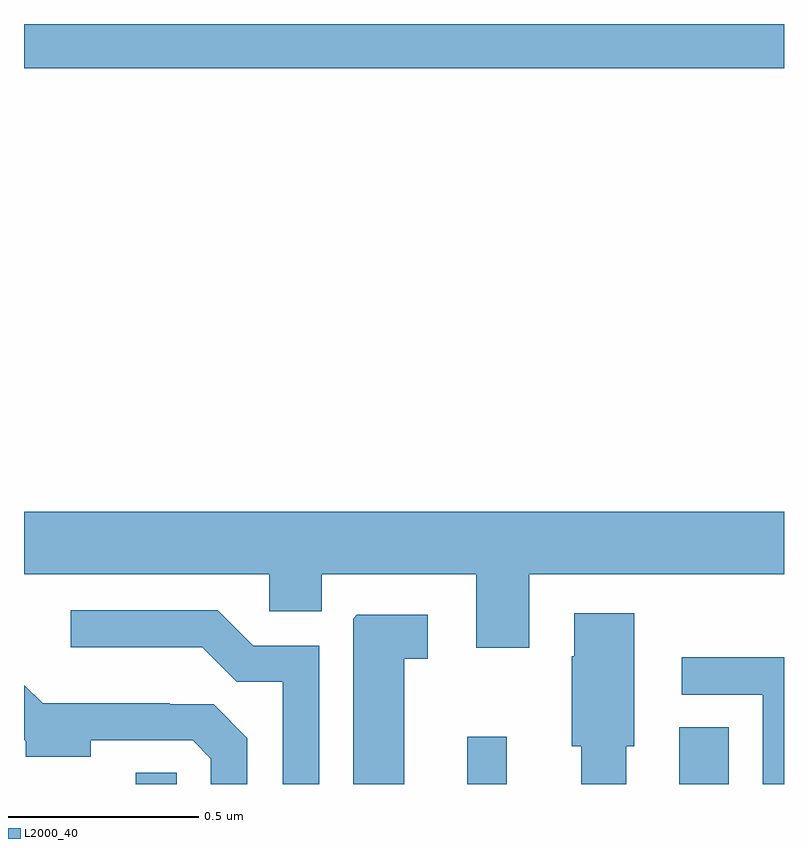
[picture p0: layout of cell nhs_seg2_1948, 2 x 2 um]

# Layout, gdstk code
import gdstk
lib = gdstk.Library(unit=1e-6, precision=1e-09)
def R(c, l, rs):  # rectangles x0, y0, x1, y1
    for r in rs: c.add(gdstk.rectangle(r[:2], r[2:], *l))
def P(c, l, *ps):  # polygons
    for p in ps: c.add(gdstk.Polygon(p, *l))
L2000_40 = (2000, 40)

nhs_seg2_1948 = lib.new_cell('nhs_seg2_1948')
R(nhs_seg2_1948, L2000_40, [(135.294,597.8,135.402,597.83), (136.166,597.8,136.27,597.925), (136.724,597.8,136.855,597.95), (135,599.684,137,599.8)])
P(nhs_seg2_1948, L2000_40, [(136.33,598.352),(137,598.352),(137,598.516),(135,598.516),(135,598.352),(135.645,598.352),(135.645,598.254),(135.784,598.254),(135.784,598.352),(136.19,598.352),(136.19,598.158),(136.33,598.158)],
  [(135.777,598.164),(135.603,598.164),(135.51,598.257),(135.123,598.257),(135.123,598.16),(135.469,598.16),(135.56,598.069),(135.681,598.069),(135.681,597.8),(135.777,597.8)],
  [(136.585,597.9),(136.606,597.9),(136.606,598.249),(136.448,598.249),(136.448,598.136),(136.441,598.136),(136.441,597.9),(136.466,597.9),(136.466,597.8),(136.585,597.8)],
  [(136,598.129),(136.063,598.129),(136.063,598.245),(135.876,598.245),(135.866,598.235),(135.866,597.8),(136,597.8)],
  [(137,598.134),(136.731,598.134),(136.731,598.035),(136.944,598.035),(136.944,597.8),(137,597.8)],
  [(135.588,597.921),(135.499,598.01),(135.383,598.01),(135.383,598.012),(135.049,598.012),(135,598.06),(135,597.916),(135.004,597.912),(135.004,597.872),(135.175,597.872),(135.175,597.915),(135.444,597.915),(135.492,597.867),(135.492,597.8),(135.588,597.8)])

lib.write_gds('nhs_seg2_1948.gds')
